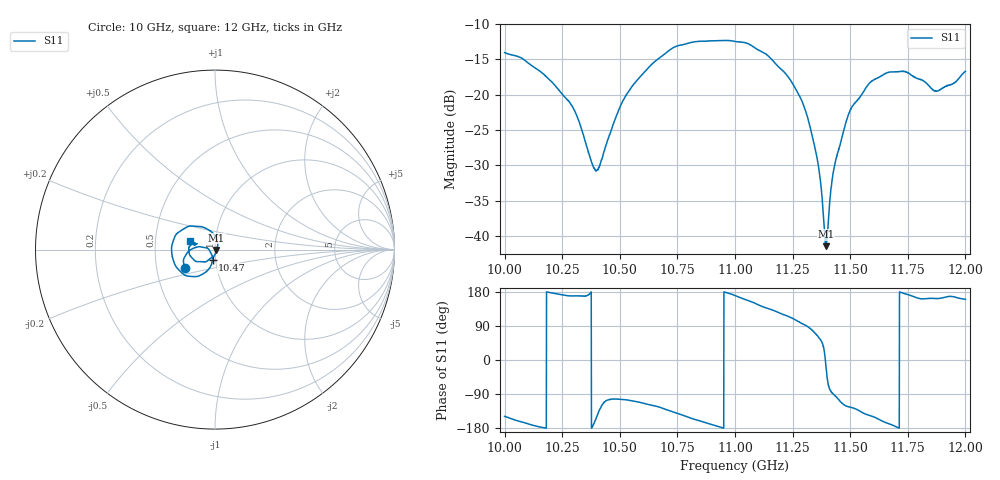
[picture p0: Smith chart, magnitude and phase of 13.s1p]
[Version] 2.0
! Rohde & Schwarz Vector Network Analyzer
! Rohde-Schwarz,ZNL20-2Port,1323001220200009,1.71.1.10-23.02.1.238
! Port Assignments:
! Nominal Port -> Actual Test Port
!  1 -> 1
! Created: GMT 2024-08-27 12:52:58
# Hz S DB R 50
[Number of Ports] 1
! freq[Hz]  S11[mag dB]  S11[ang]
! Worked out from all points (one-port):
!   2001 points, 10 GHz to 12 GHz, reference 50 ohm
!   lowest |S11| = -41.5 dB at 11.39 GHz (marker M1), VSWR 1.02, Z = 50.8 - j0.27 ohm
!   |S11| at or under -10 dB: start of sweep to end of sweep
!   S11 on the Smith chart (normalised r, x): 10 GHz: 0.70, -0.15; 10.47 GHz: 0.97, -0.11; 12 GHz: 0.75, +0.08
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[Number of Frequencies] 28
[Network Data]
1e10  -14.04 -148.8
1.0083e10  -15.01 -165.0
1.025e10  -19.92 172.0
1.0307e10  -22.47 169.2
1.0395e10  -30.79 -157.3
1.0415e10  -29.78 -127.8
1.0468e10  -24.49 -103.1
1.05e10  -21.78 -103.5
1.062e10  -16.30 -116.8
1.075e10  -13.09 -140.6
1.0855e10  -12.43 -162.0
1.1e10  -12.46 170.1
1.1136e10  -14.30 137.3
1.125e10  -18.42 109.8
1.13e10  -21.73 93.6
1.1344e10  -27.04 72.9
1.1366e10  -30.92 57.2
1.1388e10  -39.21 21.3
1.1395e10  -41.45 -18.3
1.1401e10  -39.38 -49.9
1.1418e10  -33.10 -84.6
1.1432e10  -30.10 -92.9
1.15e10  -22.17 -124.6
1.1598e10  -17.97 -149.2
1.1667e10  -16.82 -167.9
1.175e10  -16.91 172.6
1.1873e10  -19.48 162.3
1.2e10  -16.69 160.0
[End]
